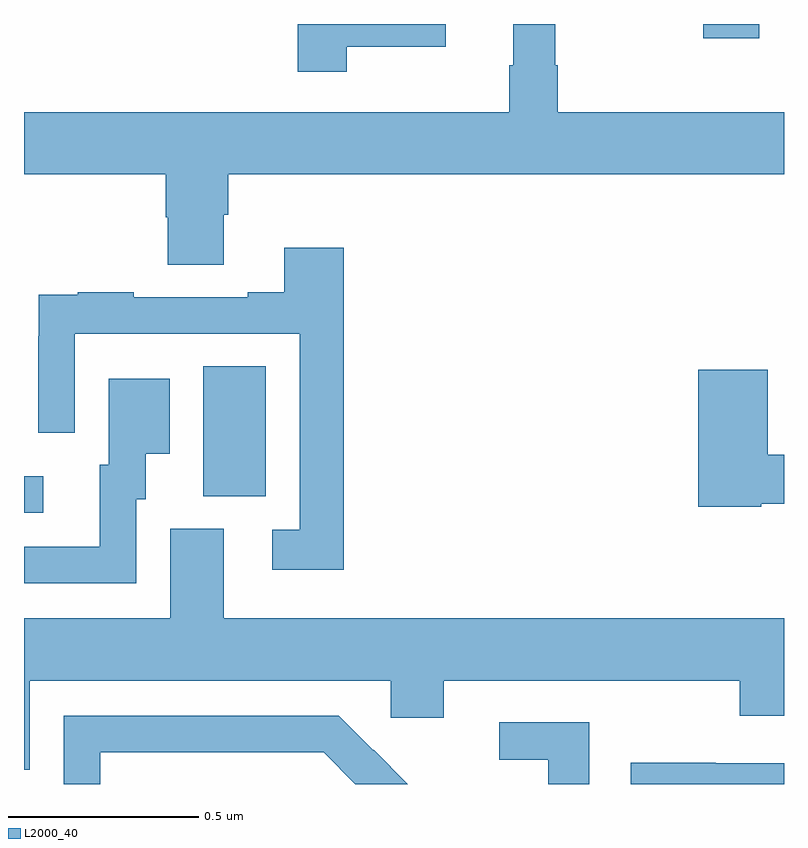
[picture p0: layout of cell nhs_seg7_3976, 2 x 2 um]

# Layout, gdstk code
import gdstk
lib = gdstk.Library(unit=1e-6, precision=1e-09)
def R(c, l, rs):  # rectangles x0, y0, x1, y1
    for r in rs: c.add(gdstk.rectangle(r[:2], r[2:], *l))
def P(c, l, *ps):  # polygons
    for p in ps: c.add(gdstk.Polygon(p, *l))
L2000_40 = (2000, 40)

nhs_seg7_3976 = lib.new_cell('nhs_seg7_3976')
R(nhs_seg7_3976, L2000_40, [(166,1011.714,166.051,1011.81), (166.472,1011.757,166.636,1012.1), (167.787,1012.962,167.935,1013)])
P(nhs_seg7_3976, L2000_40, [(166.849,1012.94),(167.11,1012.94),(167.11,1013),(166.72,1013),(166.72,1012.875),(166.849,1012.875)],
  [(166.525,1012.498),(166.538,1012.498),(166.538,1012.604),(168,1012.604),(168,1012.768),(167.405,1012.768),(167.405,1012.892),(167.398,1012.892),(167.398,1013),(167.288,1013),(167.288,1012.892),(167.277,1012.892),(167.277,1012.768),(166,1012.768),(166,1012.604),(166.373,1012.604),(166.373,1012.491),(166.378,1012.491),(166.378,1012.366),(166.525,1012.366)],
  [(166.841,1012.411),(166.685,1012.411),(166.685,1012.294),(166.589,1012.294),(166.589,1012.281),(166.289,1012.281),(166.289,1012.294),(166.141,1012.294),(166.141,1012.287),(166.039,1012.287),(166.039,1012.178),(166.038,1012.178),(166.038,1011.924),(166.134,1011.924),(166.134,1012.185),(166.725,1012.185),(166.725,1011.669),(166.653,1011.669),(166.653,1011.564),(166.841,1011.564)],
  [(167.94,1011.738),(168,1011.738),(168,1011.866),(167.957,1011.866),(167.957,1012.09),(167.774,1012.09),(167.774,1011.73),(167.94,1011.73)],
  [(166.296,1011.75),(166.321,1011.75),(166.321,1011.869),(166.384,1011.869),(166.384,1012.066),(166.223,1012.066),(166.223,1011.84),(166.199,1011.84),(166.199,1011.624),(166,1011.624),(166,1011.528),(166.296,1011.528)],
  [(166.015,1011.272),(166.965,1011.272),(166.965,1011.174),(167.104,1011.174),(167.104,1011.272),(167.884,1011.272),(167.884,1011.179),(168,1011.179),(168,1011.436),(166.525,1011.436),(166.525,1011.672),(166.385,1011.672),(166.385,1011.436),(166,1011.436),(166,1011.037),(166.015,1011.037)],
  [(166.201,1011.084),(166.789,1011.084),(166.872,1011),(167.01,1011),(166.92,1011.09),(166.919,1011.089),(166.828,1011.18),(166.104,1011.18),(166.104,1011),(166.201,1011)],
  [(167.487,1011.162),(167.25,1011.162),(167.25,1011.064),(167.379,1011.064),(167.379,1011),(167.487,1011)],
  [(168,1011.054),(167.82,1011.054),(167.82,1011.056),(167.597,1011.056),(167.597,1011),(168,1011)])

lib.write_gds('nhs_seg7_3976.gds')
